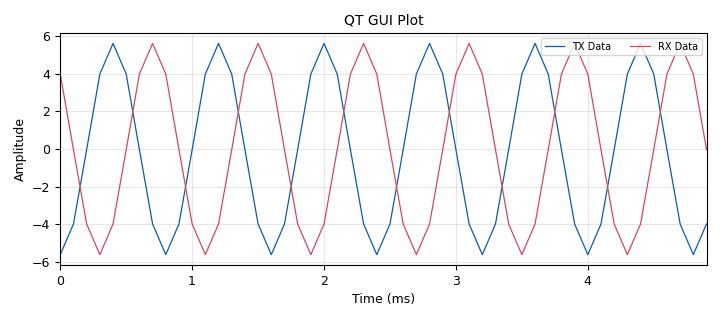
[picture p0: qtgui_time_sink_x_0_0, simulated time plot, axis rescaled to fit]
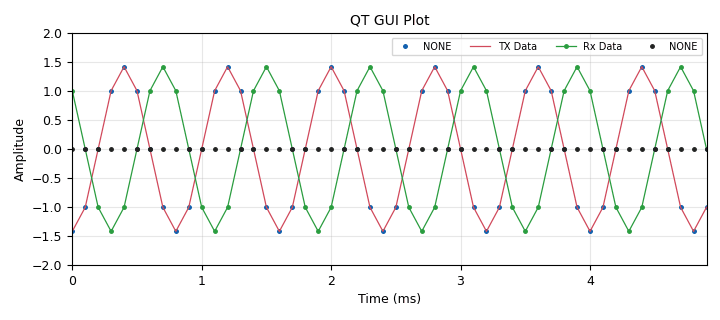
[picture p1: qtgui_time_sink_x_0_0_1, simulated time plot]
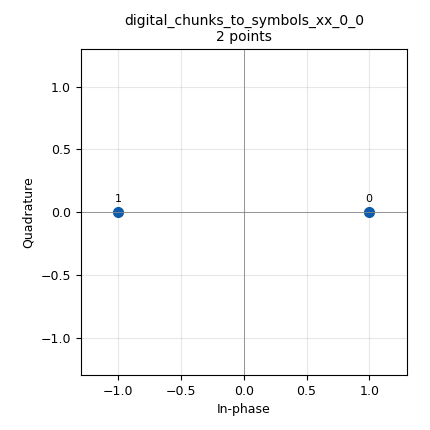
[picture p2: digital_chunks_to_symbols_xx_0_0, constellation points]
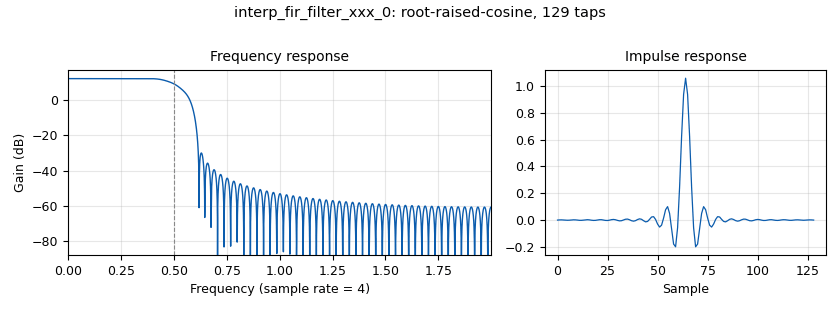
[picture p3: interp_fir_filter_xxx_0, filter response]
<?xml version='1.0' encoding='utf-8'?>
<?grc format='1' created='3.7.13'?>
<flow_graph>
<block>
<key>options</key>
<param><key>id</key><value>data_timing_offset</value></param>
<param><key>author</key><value>Andre Silva</value></param>
<param><key>generate_options</key><value>qt_gui</value></param>
</block>
<block>
<key>variable</key>
<param><key>id</key><value>eb</value></param>
<param><key>value</key><value>0.22</value></param>
</block>
<block>
<key>variable</key>
<param><key>id</key><value>ntaps</value></param>
<param><key>value</key><value>32</value></param>
</block>
<block>
<key>variable_constellation_rect</key>
<param><key>id</key><value>pld_const</value></param>
<param><key>const_points</key><value>[1+0j, -1+0j]</value></param>
<param><key>imag_sect</key><value>2</value></param>
<param><key>real_sect</key><value>2</value></param>
<param><key>rot_sym</key><value>4</value></param>
<param><key>soft_dec_lut</key><value>'auto'</value></param>
<param><key>sym_map</key><value>[0, 1]</value></param>
<param><key>w_imag_sect</key><value>1</value></param>
<param><key>w_real_sect</key><value>1</value></param>
</block>
<block>
<key>variable</key>
<param><key>id</key><value>rate</value></param>
<param><key>_enabled</key><value>0</value></param>
<param><key>value</key><value>1.25</value></param>
</block>
<block>
<key>variable</key>
<param><key>id</key><value>rate</value></param>
<param><key>_enabled</key><value>0</value></param>
<param><key>value</key><value>0.875</value></param>
</block>
<block>
<key>variable</key>
<param><key>id</key><value>rate</value></param>
<param><key>comment</key><value>NO CLOCK OFFSET, the usage of filters adds 
a liitle clock  so we adjust here the value</value></param>
<param><key>value</key><value>0.973</value></param>
</block>
<block>
<key>variable</key>
<param><key>id</key><value>rrc_rx</value></param>
<param><key>value</key><value>firdes.root_raised_cosine(1, sps, 1, eb, ntaps)</value></param>
</block>
<block>
<key>variable</key>
<param><key>id</key><value>rrc_tx</value></param>
<param><key>value</key><value>firdes.root_raised_cosine(sps, sps, 1, eb, sps*ntaps)</value></param>
</block>
<block>
<key>variable</key>
<param><key>id</key><value>samp_rate</value></param>
<param><key>value</key><value>10000</value></param>
</block>
<block>
<key>variable</key>
<param><key>id</key><value>sps</value></param>
<param><key>value</key><value>4</value></param>
</block>
<block>
<key>variable_qtgui_range</key>
<param><key>id</key><value>variable_qtgui_range_0</value></param>
<param><key>value</key><value>1</value></param>
<param><key>gui_hint</key><value>0,1</value></param>
<param><key>label</key><value>Change timing offset</value></param>
<param><key>orient</key><value>Qt.Horizontal</value></param>
<param><key>start</key><value>0</value></param>
<param><key>step</key><value>.0001</value></param>
<param><key>stop</key><value>2</value></param>
</block>
<block>
<key>blocks_throttle</key>
<param><key>id</key><value>blocks_throttle_0</value></param>
<param><key>samples_per_second</key><value>samp_rate</value></param>
<param><key>type</key><value>complex</value></param>
</block>
<block>
<key>blocks_vector_source_x</key>
<param><key>id</key><value>blocks_vector_source_x_0_0</value></param>
<param><key>type</key><value>byte</value></param>
<param><key>repeat</key><value>True</value></param>
<param><key>vector</key><value>(0,1)</value></param>
</block>
<block>
<key>channels_channel_model</key>
<param><key>id</key><value>channels_channel_model_0</value></param>
<param><key>epsilon</key><value>variable_qtgui_range_0</value></param>
<param><key>freq_offset</key><value>0.0</value></param>
<param><key>noise_voltage</key><value>0.0</value></param>
<param><key>seed</key><value>0</value></param>
<param><key>taps</key><value>1.0 + 1.0j</value></param>
</block>
<block>
<key>digital_chunks_to_symbols_xx</key>
<param><key>id</key><value>digital_chunks_to_symbols_xx_0_0</value></param>
<param><key>dimension</key><value>1</value></param>
<param><key>in_type</key><value>byte</value></param>
<param><key>out_type</key><value>complex</value></param>
<param><key>symbol_table</key><value>pld_const.points()</value></param>
</block>
<block>
<key>digital_constellation_soft_decoder_cf</key>
<param><key>id</key><value>digital_constellation_soft_decoder_cf_0</value></param>
<param><key>constellation</key><value>pld_const</value></param>
</block>
<block>
<key>digital_constellation_soft_decoder_cf</key>
<param><key>id</key><value>digital_constellation_soft_decoder_cf_0_0</value></param>
<param><key>constellation</key><value>pld_const</value></param>
</block>
<block>
<key>digital_map_bb</key>
<param><key>id</key><value>digital_map_bb_0</value></param>
<param><key>map</key><value>pld_const.pre_diff_code()</value></param>
</block>
<block>
<key>fir_filter_xxx</key>
<param><key>id</key><value>fir_filter_xxx_0_0_0</value></param>
<param><key>decim</key><value>4</value></param>
<param><key>_enabled</key><value>2</value></param>
<param><key>taps</key><value>rrc_rx</value></param>
<param><key>type</key><value>ccc</value></param>
</block>
<block>
<key>fir_filter_xxx</key>
<param><key>id</key><value>fir_filter_xxx_0_0_0_0</value></param>
<param><key>decim</key><value>4</value></param>
<param><key>_enabled</key><value>2</value></param>
<param><key>taps</key><value>rrc_rx</value></param>
<param><key>type</key><value>ccc</value></param>
</block>
<block>
<key>interp_fir_filter_xxx</key>
<param><key>id</key><value>interp_fir_filter_xxx_0</value></param>
<param><key>interp</key><value>sps</value></param>
<param><key>taps</key><value>rrc_tx</value></param>
<param><key>type</key><value>ccc</value></param>
</block>
<block>
<key>note</key>
<param><key>id</key><value>note_0</value></param>
<param><key>note</key><value>NO CLOCK OFFSET, the usage of filters adds a liitle clock  so we adjust here the value</value></param>
</block>
<block>
<key>note</key>
<param><key>id</key><value>note_0_0</value></param>
<param><key>note</key><value>BEHIND actual data</value></param>
</block>
<block>
<key>note</key>
<param><key>id</key><value>note_0_0_0</value></param>
<param><key>note</key><value>FORWARD actual data</value></param>
</block>
<block>
<key>qtgui_time_sink_x</key>
<param><key>id</key><value>qtgui_time_sink_x_0_0</value></param>
<param><key>entags</key><value>False</value></param>
<param><key>gui_hint</key><value>2,1,1,1</value></param>
<param><key>color1</key><value>"green"</value></param>
<param><key>label1</key><value>TX Data</value></param>
<param><key>width1</key><value>2</value></param>
<param><key>color2</key><value>"red"</value></param>
<param><key>label2</key><value>RX Data</value></param>
<param><key>width2</key><value>2</value></param>
<param><key>name</key><value>QT GUI Plot</value></param>
<param><key>nconnections</key><value>2</value></param>
<param><key>size</key><value>50</value></param>
<param><key>srate</key><value>samp_rate</value></param>
<param><key>tr_delay</key><value>0.0002</value></param>
<param><key>tr_level</key><value>0.9</value></param>
<param><key>tr_mode</key><value>qtgui.TRIG_MODE_NORM</value></param>
<param><key>type</key><value>float</value></param>
<param><key>update_time</key><value>0.001</value></param>
<param><key>ymax</key><value>2</value></param>
<param><key>ymin</key><value>-2</value></param>
</block>
<block>
<key>qtgui_time_sink_x</key>
<param><key>id</key><value>qtgui_time_sink_x_0_0_0</value></param>
<param><key>_enabled</key><value>0</value></param>
<param><key>gui_hint</key><value>0,2,1,1</value></param>
<param><key>color1</key><value>"green"</value></param>
<param><key>label1</key><value>TX Data</value></param>
<param><key>marker1</key><value>0</value></param>
<param><key>width1</key><value>2</value></param>
<param><key>color2</key><value>"red"</value></param>
<param><key>label2</key><value>RX Data</value></param>
<param><key>marker2</key><value>0</value></param>
<param><key>width2</key><value>2</value></param>
<param><key>name</key><value>QT GUI Plot</value></param>
<param><key>size</key><value>27</value></param>
<param><key>srate</key><value>samp_rate</value></param>
<param><key>tr_delay</key><value>0.0002</value></param>
<param><key>tr_level</key><value>0.9</value></param>
<param><key>tr_mode</key><value>qtgui.TRIG_MODE_NORM</value></param>
<param><key>type</key><value>complex</value></param>
<param><key>update_time</key><value>0.01</value></param>
<param><key>ymax</key><value>1.50</value></param>
<param><key>ymin</key><value>-0.25</value></param>
</block>
<block>
<key>qtgui_time_sink_x</key>
<param><key>id</key><value>qtgui_time_sink_x_0_0_1</value></param>
<param><key>gui_hint</key><value>1,1,1,1</value></param>
<param><key>color1</key><value>"cyan"</value></param>
<param><key>label1</key><value>NONE</value></param>
<param><key>style1</key><value>0</value></param>
<param><key>width1</key><value>0</value></param>
<param><key>color2</key><value>"green"</value></param>
<param><key>label2</key><value>TX Data</value></param>
<param><key>width2</key><value>2</value></param>
<param><key>color3</key><value>"red"</value></param>
<param><key>label3</key><value>Rx Data</value></param>
<param><key>marker3</key><value>0</value></param>
<param><key>width3</key><value>2</value></param>
<param><key>color4</key><value>"cyan"</value></param>
<param><key>label4</key><value>NONE</value></param>
<param><key>marker4</key><value>0</value></param>
<param><key>style4</key><value>0</value></param>
<param><key>width4</key><value>0</value></param>
<param><key>name</key><value>QT GUI Plot</value></param>
<param><key>nconnections</key><value>2</value></param>
<param><key>size</key><value>50</value></param>
<param><key>srate</key><value>samp_rate</value></param>
<param><key>tr_delay</key><value>0.0002</value></param>
<param><key>tr_level</key><value>0.9</value></param>
<param><key>tr_mode</key><value>qtgui.TRIG_MODE_NORM</value></param>
<param><key>type</key><value>complex</value></param>
<param><key>update_time</key><value>0.001</value></param>
<param><key>ymax</key><value>2</value></param>
<param><key>ymin</key><value>-2</value></param>
</block>
<connection><source_block_id>blocks_throttle_0</source_block_id><sink_block_id>interp_fir_filter_xxx_0</sink_block_id><source_key>0</source_key><sink_key>0</sink_key></connection>
<connection><source_block_id>blocks_throttle_0</source_block_id><sink_block_id>qtgui_time_sink_x_0_0_0</sink_block_id><source_key>0</source_key><sink_key>0</sink_key></connection>
<connection><source_block_id>blocks_vector_source_x_0_0</source_block_id><sink_block_id>digital_map_bb_0</sink_block_id><source_key>0</source_key><sink_key>0</sink_key></connection>
<connection><source_block_id>channels_channel_model_0</source_block_id><sink_block_id>digital_constellation_soft_decoder_cf_0_0</sink_block_id><source_key>0</source_key><sink_key>0</sink_key></connection>
<connection><source_block_id>channels_channel_model_0</source_block_id><sink_block_id>fir_filter_xxx_0_0_0</sink_block_id><source_key>0</source_key><sink_key>0</sink_key></connection>
<connection><source_block_id>digital_chunks_to_symbols_xx_0_0</source_block_id><sink_block_id>blocks_throttle_0</sink_block_id><source_key>0</source_key><sink_key>0</sink_key></connection>
<connection><source_block_id>digital_constellation_soft_decoder_cf_0</source_block_id><sink_block_id>qtgui_time_sink_x_0_0</sink_block_id><source_key>0</source_key><sink_key>1</sink_key></connection>
<connection><source_block_id>digital_constellation_soft_decoder_cf_0_0</source_block_id><sink_block_id>qtgui_time_sink_x_0_0</sink_block_id><source_key>0</source_key><sink_key>0</sink_key></connection>
<connection><source_block_id>digital_map_bb_0</source_block_id><sink_block_id>digital_chunks_to_symbols_xx_0_0</sink_block_id><source_key>0</source_key><sink_key>0</sink_key></connection>
<connection><source_block_id>fir_filter_xxx_0_0_0</source_block_id><sink_block_id>qtgui_time_sink_x_0_0_1</sink_block_id><source_key>0</source_key><sink_key>0</sink_key></connection>
<connection><source_block_id>fir_filter_xxx_0_0_0_0</source_block_id><sink_block_id>qtgui_time_sink_x_0_0_1</sink_block_id><source_key>0</source_key><sink_key>1</sink_key></connection>
<connection><source_block_id>interp_fir_filter_xxx_0</source_block_id><sink_block_id>channels_channel_model_0</sink_block_id><source_key>0</source_key><sink_key>0</sink_key></connection>
<connection><source_block_id>interp_fir_filter_xxx_0</source_block_id><sink_block_id>digital_constellation_soft_decoder_cf_0</sink_block_id><source_key>0</source_key><sink_key>0</sink_key></connection>
<connection><source_block_id>interp_fir_filter_xxx_0</source_block_id><sink_block_id>fir_filter_xxx_0_0_0_0</sink_block_id><source_key>0</source_key><sink_key>0</sink_key></connection>
</flow_graph>
